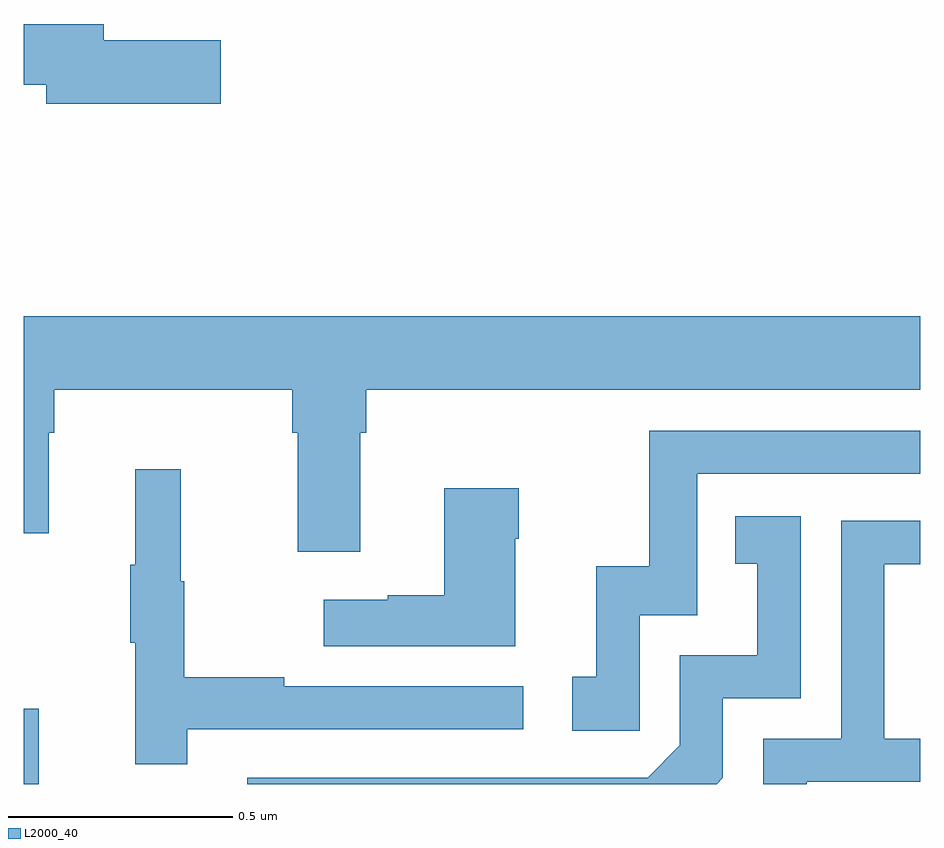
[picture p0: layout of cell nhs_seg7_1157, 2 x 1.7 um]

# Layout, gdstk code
import gdstk
lib = gdstk.Library(unit=1e-6, precision=1e-09)
def R(c, l, rs):  # rectangles x0, y0, x1, y1
    for r in rs: c.add(gdstk.rectangle(r[:2], r[2:], *l))
def P(c, l, *ps):  # polygons
    for p in ps: c.add(gdstk.Polygon(p, *l))
L2000_40 = (2000, 40)

nhs_seg7_1157 = lib.new_cell('nhs_seg7_1157')
R(nhs_seg7_1157, L2000_40, [(126,1069,126.033,1069.168)])
P(nhs_seg7_1157, L2000_40, [(126.439,1070.66),(126.178,1070.66),(126.178,1070.696),(126,1070.696),(126,1070.56),(126.05,1070.56),(126.05,1070.518),(126.439,1070.518)],
  [(126.751,1069.784),(126.764,1069.784),(126.764,1069.88),(128,1069.88),(128,1070.044),(126,1070.044),(126,1069.56),(126.055,1069.56),(126.055,1069.784),(126.068,1069.784),(126.068,1069.88),(126.599,1069.88),(126.599,1069.784),(126.611,1069.784),(126.611,1069.518),(126.751,1069.518)],
  [(127.374,1069.377),(127.503,1069.377),(127.503,1069.692),(128,1069.692),(128,1069.788),(127.395,1069.788),(127.395,1069.486),(127.277,1069.486),(127.277,1069.239),(127.224,1069.239),(127.224,1069.119),(127.374,1069.119)],
  [(126.365,1069.122),(127.114,1069.122),(127.114,1069.218),(126.581,1069.218),(126.581,1069.238),(126.358,1069.238),(126.358,1069.452),(126.35,1069.452),(126.35,1069.702),(126.248,1069.702),(126.248,1069.489),(126.237,1069.489),(126.237,1069.315),(126.248,1069.315),(126.248,1069.044),(126.365,1069.044)],
  [(127.096,1069.547),(127.104,1069.547),(127.104,1069.66),(126.938,1069.66),(126.938,1069.421),(126.812,1069.421),(126.812,1069.411),(126.669,1069.411),(126.669,1069.307),(127.096,1069.307)],
  [(127.56,1069.014),(127.56,1069.191),(127.734,1069.191),(127.734,1069.597),(127.588,1069.597),(127.588,1069.491),(127.637,1069.491),(127.637,1069.287),(127.464,1069.287),(127.464,1069.086),(127.392,1069.014),(126.498,1069.014),(126.498,1069),(127.546,1069)],
  [(127.747,1069.005),(128,1069.005),(128,1069.101),(127.92,1069.101),(127.92,1069.49),(128,1069.49),(128,1069.587),(127.824,1069.587),(127.824,1069.101),(127.65,1069.101),(127.65,1069),(127.747,1069)])

lib.write_gds('nhs_seg7_1157.gds')
